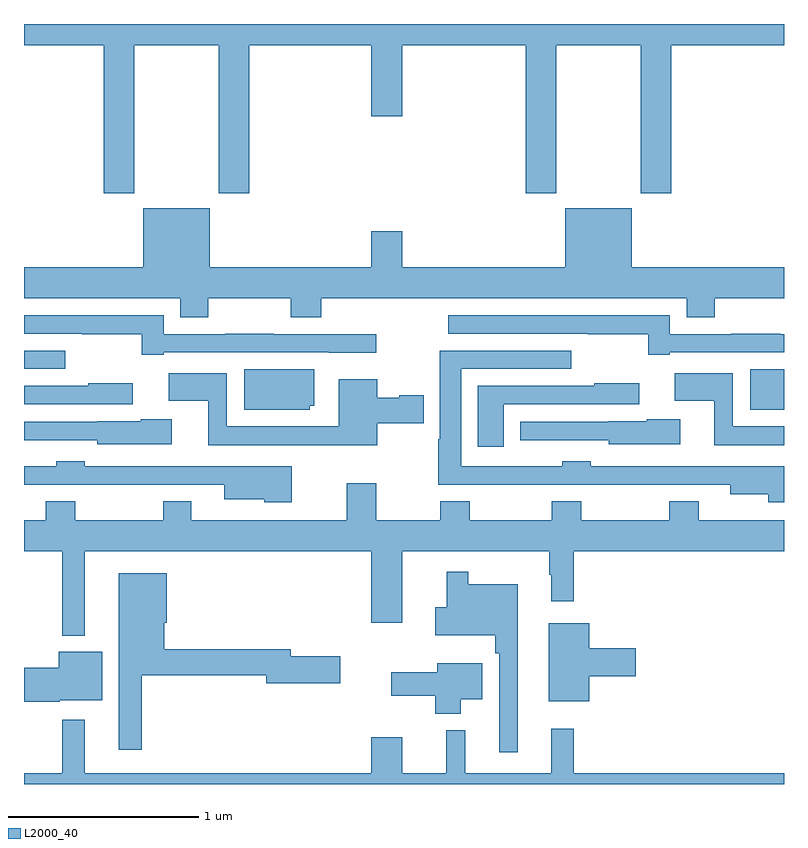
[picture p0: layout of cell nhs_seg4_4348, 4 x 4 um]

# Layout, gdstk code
import gdstk
lib = gdstk.Library(unit=1e-6, precision=1e-09)
def R(c, l, rs):  # rectangles x0, y0, x1, y1
    for r in rs: c.add(gdstk.rectangle(r[:2], r[2:], *l))
def P(c, l, *ps):  # polygons
    for p in ps: c.add(gdstk.Polygon(p, *l))
L2000_40 = (2000, 40)

nhs_seg4_4348 = lib.new_cell('nhs_seg4_4348')
R(nhs_seg4_4348, L2000_40, [(346.823,826.871,347,827.083), (343,827.085,343.216,827.181)])
P(nhs_seg4_4348, L2000_40, [(343.581,828.788),(344.026,828.788),(344.026,828.009),(344.186,828.009),(344.186,828.788),(344.828,828.788),(344.828,828.414),(344.992,828.414),(344.992,828.788),(345.641,828.788),(345.641,828.009),(345.801,828.009),(345.801,828.788),(346.246,828.788),(346.246,828.009),(346.406,828.009),(346.406,828.788),(347,828.788),(347,828.9),(343,828.9),(343,828.788),(343.421,828.788),(343.421,828.009),(343.581,828.009)],
  [(343.971,827.456),(344.404,827.456),(344.404,827.357),(344.564,827.357),(344.564,827.456),(346.487,827.456),(346.487,827.357),(346.635,827.357),(346.635,827.456),(347,827.456),(347,827.62),(346.198,827.62),(346.198,827.929),(345.848,827.929),(345.848,827.62),(344.992,827.62),(344.992,827.809),(344.828,827.809),(344.828,827.62),(343.978,827.62),(343.978,827.929),(343.628,827.929),(343.628,827.62),(343,827.62),(343,827.456),(343.823,827.456),(343.823,827.357),(343.971,827.357)],
  [(343.735,827.172),(344.605,827.172),(344.605,827.171),(344.854,827.171),(344.854,827.268),(344.315,827.268),(344.315,827.27),(344.059,827.27),(344.059,827.268),(343.735,827.268),(343.735,827.367),(343,827.367),(343,827.271),(343.303,827.271),(343.303,827.266),(343.621,827.266),(343.621,827.16),(343.735,827.16)],
  [(346.399,827.172),(347,827.172),(347,827.268),(346.979,827.268),(346.979,827.27),(346.723,827.27),(346.723,827.268),(346.399,827.268),(346.399,827.367),(345.234,827.367),(345.234,827.271),(345.967,827.271),(345.967,827.266),(346.285,827.266),(346.285,827.16),(346.399,827.16)],
  [(347,826.573),(346.822,826.573),(346.822,826.572),(345.984,826.572),(345.984,826.6),(345.834,826.6),(345.834,826.573),(345.622,826.573),(345.622,826.572),(345.301,826.572),(345.301,827.085),(345.88,827.085),(345.88,827.181),(345.188,827.181),(345.188,826.715),(345.181,826.715),(345.181,826.475),(346.307,826.475),(346.307,826.476),(346.718,826.476),(346.718,826.424),(346.918,826.424),(346.918,826.382),(347,826.382)],
  [(344.505,826.89),(344.527,826.89),(344.527,827.083),(344.159,827.083),(344.159,826.871),(344.505,826.871)],
  [(347,826.783),(346.731,826.783),(346.731,827.062),(346.425,827.062),(346.425,826.916),(346.634,826.916),(346.634,826.682),(347,826.682)],
  [(344.86,826.799),(345.103,826.799),(345.103,826.946),(344.976,826.946),(344.976,826.933),(344.86,826.933),(344.86,827.029),(344.657,827.029),(344.657,826.783),(344.067,826.783),(344.067,827.062),(343.761,827.062),(343.761,826.916),(343.97,826.916),(343.97,826.682),(344.86,826.682)],
  [(345.526,826.899),(346.237,826.899),(346.237,827.008),(346.001,827.008),(346.001,826.995),(345.389,826.995),(345.389,826.674),(345.526,826.674)],
  [(343.573,827.008),(343.337,827.008),(343.337,826.995),(343,826.995),(343,826.899),(343.573,826.899)],
  [(346.453,826.821),(346.278,826.821),(346.278,826.81),(346.077,826.81),(346.077,826.806),(345.611,826.806),(345.611,826.71),(346.077,826.71),(346.077,826.688),(346.453,826.688)],
  [(343.777,826.821),(343.614,826.821),(343.614,826.81),(343.386,826.81),(343.386,826.806),(343,826.806),(343,826.71),(343.386,826.71),(343.386,826.688),(343.777,826.688)],
  [(344.409,826.573),(344.158,826.573),(344.158,826.572),(343.32,826.572),(343.32,826.6),(343.17,826.6),(343.17,826.573),(343,826.573),(343,826.475),(343.643,826.475),(343.643,826.476),(344.054,826.476),(344.054,826.4),(344.265,826.4),(344.265,826.382),(344.409,826.382)],
  [(343.321,826.124),(344.828,826.124),(344.828,825.75),(344.992,825.75),(344.992,826.124),(345.765,826.124),(345.765,826.001),(345.776,826.001),(345.776,825.861),(345.893,825.861),(345.893,826.124),(347,826.124),(347,826.288),(346.551,826.288),(346.551,826.387),(346.396,826.387),(346.396,826.288),(345.933,826.288),(345.933,826.387),(345.778,826.387),(345.778,826.288),(345.345,826.288),(345.345,826.387),(345.19,826.387),(345.19,826.288),(344.853,826.288),(344.853,826.483),(344.698,826.483),(344.698,826.288),(343.879,826.288),(343.879,826.387),(343.732,826.387),(343.732,826.288),(343.269,826.288),(343.269,826.387),(343.114,826.387),(343.114,826.288),(343,826.288),(343,826.124),(343.2,826.124),(343.2,825.68),(343.321,825.68)],
  [(345.598,825.952),(345.337,825.952),(345.337,826.018),(345.226,826.018),(345.226,825.831),(345.164,825.831),(345.164,825.683),(345.481,825.683),(345.481,825.587),(345.501,825.587),(345.501,825.066),(345.598,825.066)],
  [(343.621,825.472),(344.276,825.472),(344.276,825.43),(344.665,825.43),(344.665,825.572),(344.404,825.572),(344.404,825.608),(343.738,825.608),(343.738,825.75),(343.75,825.75),(343.75,826.009),(343.499,826.009),(343.499,825.081),(343.621,825.081)],
  [(345.976,825.467),(346.219,825.467),(346.219,825.614),(345.976,825.614),(345.976,825.745),(345.761,825.745),(345.761,825.335),(345.976,825.335)],
  [(343.188,825.341),(343.411,825.341),(343.411,825.595),(343.184,825.595),(343.184,825.512),(343,825.512),(343,825.334),(343.188,825.334)],
  [(345.298,825.347),(345.412,825.347),(345.412,825.535),(345.176,825.535),(345.176,825.487),(344.934,825.487),(344.934,825.365),(345.164,825.365),(345.164,825.269),(345.298,825.269)],
  [(347,824.956),(345.893,824.956),(345.893,825.19),(345.776,825.19),(345.776,824.956),(345.323,824.956),(345.323,825.184),(345.223,825.184),(345.223,824.956),(344.992,824.956),(344.992,825.145),(344.828,825.145),(344.828,824.956),(343.321,824.956),(343.321,825.238),(343.2,825.238),(343.2,824.956),(343,824.956),(343,824.9),(347,824.9)])

lib.write_gds('nhs_seg4_4348.gds')
